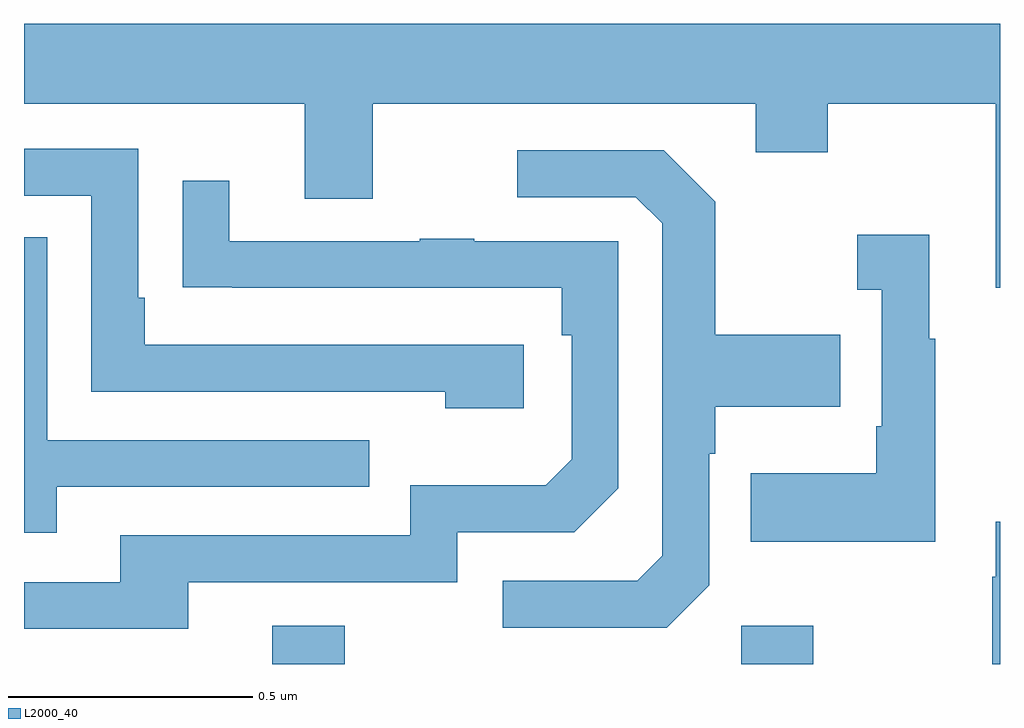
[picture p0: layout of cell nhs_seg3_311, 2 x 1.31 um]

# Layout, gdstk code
import gdstk
lib = gdstk.Library(unit=1e-6, precision=1e-09)
def R(c, l, rs):  # rectangles x0, y0, x1, y1
    for r in rs: c.add(gdstk.rectangle(r[:2], r[2:], *l))
def P(c, l, *ps):  # polygons
    for p in ps: c.add(gdstk.Polygon(p, *l))
L2000_40 = (2000, 40)

nhs_seg3_311 = lib.new_cell('nhs_seg3_311')
R(nhs_seg3_311, L2000_40, [(114.509,734.4,114.657,734.479), (115.47,734.4,115.617,734.479)])
P(nhs_seg3_311, L2000_40, [(116,735.712),(114,735.712),(114,735.548),(114.575,735.548),(114.575,735.354),(114.715,735.354),(114.715,735.548),(115.499,735.548),(115.499,735.449),(115.647,735.449),(115.647,735.548),(115.991,735.548),(115.991,735.171),(116,735.171)],
  [(115.024,735.054),(114.247,735.054),(114.247,735.151),(114.234,735.151),(114.234,735.456),(114,735.456),(114,735.36),(114.138,735.36),(114.138,734.958),(114.863,734.958),(114.863,734.924),(115.024,734.924)],
  [(115.404,734.562),(115.404,734.831),(115.417,734.831),(115.417,734.927),(115.673,734.927),(115.673,735.075),(115.417,735.075),(115.417,735.347),(115.311,735.453),(115.011,735.453),(115.011,735.357),(115.254,735.357),(115.308,735.303),(115.308,734.622),(115.257,734.571),(114.981,734.571),(114.981,734.475),(115.317,734.475)],
  [(114.337,734.568),(114.888,734.568),(114.888,734.67),(115.128,734.67),(115.218,734.76),(115.218,735.267),(114.923,735.267),(114.923,735.272),(114.811,735.272),(114.811,735.267),(114.421,735.267),(114.421,735.391),(114.325,735.391),(114.325,735.172),(114.427,735.172),(114.427,735.171),(115.102,735.171),(115.102,735.074),(115.122,735.074),(115.122,734.82),(115.069,734.767),(114.792,734.767),(114.792,734.664),(114.197,734.664),(114.197,734.568),(114,734.568),(114,734.472),(114.337,734.472)],
  [(115.867,735.067),(115.855,735.067),(115.855,735.28),(115.707,735.28),(115.707,735.167),(115.758,735.167),(115.758,734.887),(115.746,734.887),(115.746,734.791),(115.489,734.791),(115.489,734.651),(115.867,734.651)],
  [(114.067,734.763),(114.707,734.763),(114.707,734.859),(114.048,734.859),(114.048,735.275),(114,735.275),(114,734.669),(114.067,734.669)],
  [(116,734.692),(115.991,734.692),(115.991,734.579),(115.984,734.579),(115.984,734.4),(116,734.4)])

lib.write_gds('nhs_seg3_311.gds')
